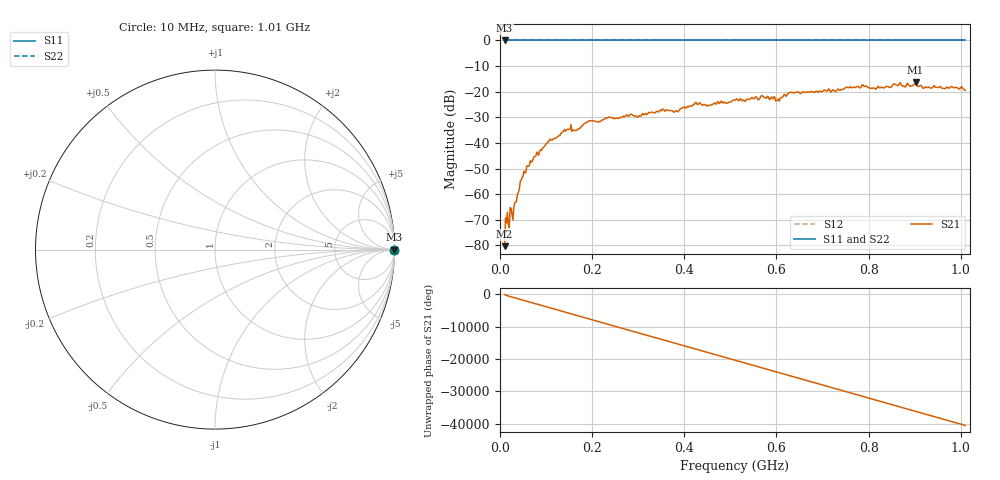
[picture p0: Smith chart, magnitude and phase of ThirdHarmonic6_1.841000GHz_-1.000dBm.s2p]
! 8/16/2025 10:17:20 PM
! C:\ANRITSUVNA\TEMP\TEMP.S2P
! CHANNEL.1
! TR.MEASUREMENT
! RAW.DATA
! RF.CORRECTION.OFF
! AVERAGING.OFF
! IF.BANDWIDTH: 5KHZ
! SWEEPTYPE:  FREQ.SWEEP(Linear)
! Reference Plane Port Info
! PORT:  PORT1  PORT2
! DISTANCE:  0  m  0  m
! TIME:  0  s  0  s
! PHASE.OFFSET:  0  deg.  0  deg.
! LOSS:  0  dB  0  dB
! REF.LOSS:  0  dB  0  dB
! REF.FREQ:  0  Hz  0  Hz
! Power Info
! POWER:  -20  dBm  -20  dBm
! EFF.POWER:  -20  dBm  -20  dBm
! SOURCE.ATTEN:  0  dB  0  dB
! TEST.ATTEN:  0  dB  0  dB
# GHZ S RI R 50.0
! FREQ.GHZ  S11RE  S11IM  S21RE  S21IM  S12RE  S12IM  S22RE  S22IM
!; PortSelection: Port_12
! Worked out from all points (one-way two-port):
!   501 points, 10 MHz to 1.01 GHz, reference 50 ohm
!   highest |S21| = -16.40 dB at 902 MHz (marker M1); lowest = -80.3 dB at 10 MHz (marker M2)
!   lowest |S11| = 0.0 dB at 10 MHz (marker M3)
!   |S11| at or under -10 dB: nowhere
!   |S22| runs from 0.0 to 0.0 dB; largest |S21 - S12| = 1.1
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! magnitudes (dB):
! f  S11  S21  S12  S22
! 10 MHz  0.0  -80.3  0.0  0.0
! 16 MHz  0.0  -67.1  0.0  0.0
! 32 MHz  0.0  -63.3  0.0  0.0
! 48 MHz  0.0  -53.3  0.0  0.0
! 62 MHz  0.0  -49.1  0.0  0.0
! 106 MHz  0.0  -39.5  0.0  0.0
! 150 MHz  0.0  -34.7  0.0  0.0
! 164 MHz  0.0  -35.2  0.0  0.0
! 178 MHz  0.0  -33.3  0.0  0.0
! 196 MHz  0.0  -31.3  0.0  0.0
! 344 MHz  0.0  -27.9  0.0  0.0
! 382 MHz  0.0  -27.4  0.0  0.0
! 422 MHz  0.0  -24.8  0.0  0.0
! 452 MHz  0.0  -25.3  0.0  0.0
! 510 MHz  0.0  -23.3  0.0  0.0
! 570 MHz  0.0  -21.7  0.0  0.0
! 602 MHz  0.0  -23.1  0.0  0.0
! 630 MHz  0.0  -20.2  0.0  0.0
! 678 MHz  0.0  -20.0  0.0  0.0
! 844 MHz  0.0  -18.2  0.0  0.0
! 902 MHz  0.0  -16.4  0.0  0.0
! 1.01 GHz  0.0  -19.5  0.0  0.0
